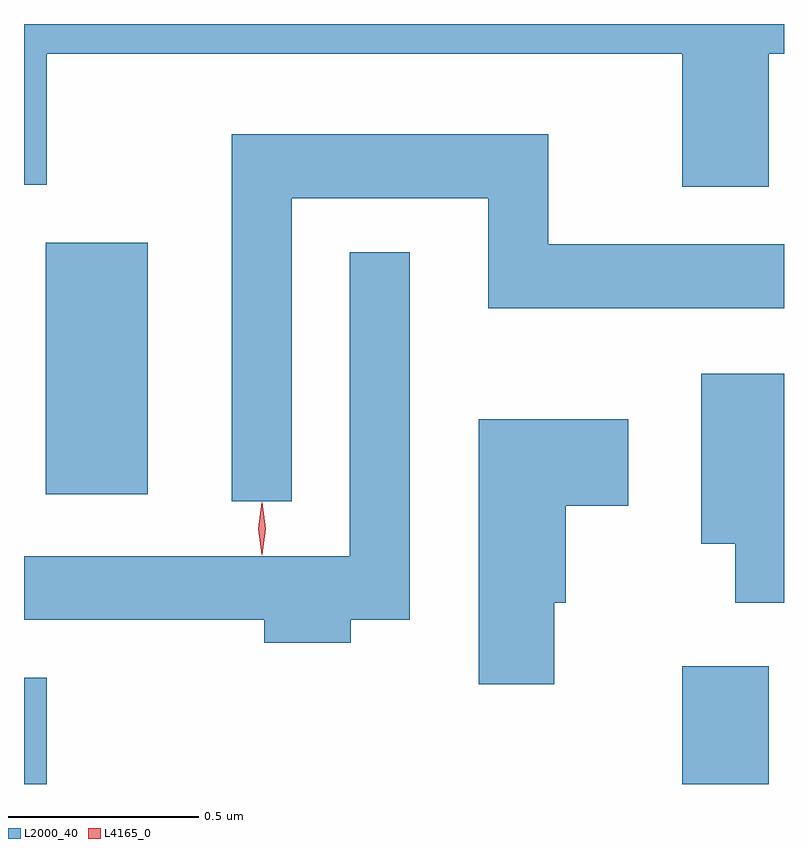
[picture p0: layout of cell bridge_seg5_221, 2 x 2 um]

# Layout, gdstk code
import gdstk
lib = gdstk.Library(unit=1e-6, precision=1e-09)
def R(c, l, rs):  # rectangles x0, y0, x1, y1
    for r in rs: c.add(gdstk.rectangle(r[:2], r[2:], *l))
def P(c, l, *ps):  # polygons
    for p in ps: c.add(gdstk.Polygon(p, *l))
L2000_40 = (2000, 40)
L4165_0 = (4165, 0)

bridge_seg5_221 = lib.new_cell('bridge_seg5_221')
R(bridge_seg5_221, L2000_40, [(1300.789,1423.794,1300.849,1424.074), (1302.521,1423.794,1302.749,1424.104), (1300.846,1424.556,1301.114,1425.219)])
P(bridge_seg5_221, L2000_40, [(1302.749,1425.716),(1302.789,1425.716),(1302.789,1425.794),(1300.789,1425.794),(1300.789,1425.371),(1300.849,1425.371),(1300.849,1425.716),(1302.521,1425.716),(1302.521,1425.366),(1302.749,1425.366)],
  [(1301.494,1425.336),(1302.011,1425.336),(1302.011,1425.046),(1302.789,1425.046),(1302.789,1425.214),(1302.169,1425.214),(1302.169,1425.504),(1301.336,1425.504),(1301.336,1424.538),(1301.494,1424.538)],
  [(1301.649,1424.226),(1301.804,1424.226),(1301.804,1425.193),(1301.646,1425.193),(1301.646,1424.394),(1300.789,1424.394),(1300.789,1424.226),(1301.421,1424.226),(1301.421,1424.166),(1301.649,1424.166)],
  [(1302.789,1424.874),(1302.571,1424.874),(1302.571,1424.426),(1302.661,1424.426),(1302.661,1424.271),(1302.789,1424.271)],
  [(1302.184,1424.271),(1302.214,1424.271),(1302.214,1424.526),(1302.379,1424.526),(1302.379,1424.754),(1301.986,1424.754),(1301.986,1424.056),(1302.184,1424.056)])
P(bridge_seg5_221, L4165_0, [(1301.415,1424.399),(1301.414,1424.4),(1301.405,1424.466),(1301.414,1424.532),(1301.415,1424.533),(1301.415,1424.532),(1301.425,1424.466),(1301.415,1424.4)],
  [(1301.414,1424.397),(1301.405,1424.466),(1301.414,1424.536),(1301.415,1424.536),(1301.416,1424.536),(1301.425,1424.466),(1301.416,1424.397),(1301.415,1424.397)])

lib.write_gds('bridge_seg5_221.gds')
